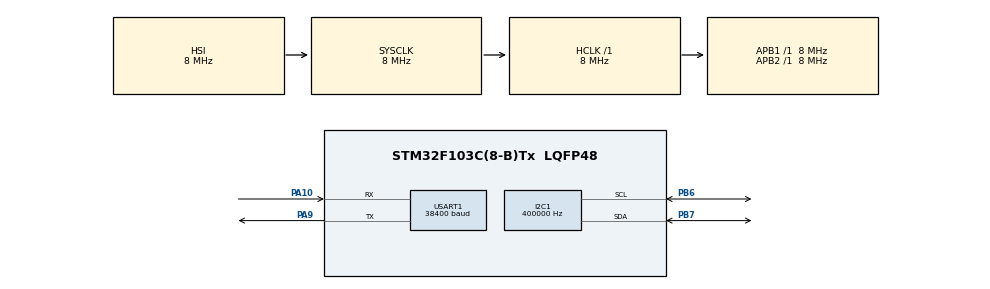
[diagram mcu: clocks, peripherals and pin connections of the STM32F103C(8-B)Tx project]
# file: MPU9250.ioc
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I2C1.ClockSpeed=400000
I2C1.I2C_Mode=I2C_Fast
Mcu.Family=STM32F1
Mcu.Name=STM32F103C(8-B)Tx
Mcu.Package=LQFP48
NVIC.PriorityGroup=NVIC_PRIORITYGROUP_4
PA10.Mode=Asynchronous
PA10.Signal=USART1_RX
PA9.Mode=Asynchronous
PA9.Signal=USART1_TX
PB6.Mode=I2C
PB6.Signal=I2C1_SCL
PB7.Mode=I2C
PB7.Signal=I2C1_SDA
ProjectManager.HeapSize=0x200
ProjectManager.StackSize=0x400
ProjectManager.TargetToolchain=STM32CubeIDE
RCC.AHBFreq_Value=8000000
RCC.APB1Freq_Value=8000000
RCC.APB1TimFreq_Value=8000000
RCC.APB2Freq_Value=8000000
RCC.APB2TimFreq_Value=8000000
RCC.HCLKFreq_Value=8000000
RCC.SYSCLKFreq_VALUE=8000000
RCC.USBFreq_Value=8000000
USART1.BaudRate=38400
USART1.VirtualMode=VM_ASYNC
board=custom

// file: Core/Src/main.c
/* USER CODE BEGIN Header */
/**
  ******************************************************************************
  * @file           : main.c
  * @brief          : Main program body
  ******************************************************************************
  * @attention
  *
  * Copyright (c) 2022 STMicroelectronics.
  * All rights reserved.
  *
  * This software is licensed under terms that can be found in the LICENSE file
  * in the root directory of this software component.
  * If no LICENSE file comes with this software, it is provided AS-IS.
  *
  ******************************************************************************
  */
/* USER CODE END Header */
#include "main.h"
#include "i2c.h"
#include "usart.h"
#include "gpio.h"

/* USER CODE BEGIN Includes */
#include "stdio.h"
/* USER CODE END Includes */

/* USER CODE BEGIN PV */
static MPU6500_t MPU6500;
static AK8963_t Magnetometer;
static uint8_t txbuf[128];
static uint8_t success[] = "successfully initialized ";
static uint8_t fail[] = "failed to initialize ";
uint8_t hold[] = "Please wait for calibration...\r\n";
uint8_t holdf[] = "Calibration complete!\r\n";
/* USER CODE END PV */

void SystemClock_Config(void);
/* USER CODE BEGIN PFP */
void gcvt (float value, int ndigits, char * buf);
/* USER CODE END PFP */

int main(void)
{

  /* MCU Configuration--------------------------------------------------------*/

  /* Reset of all peripherals, Initializes the Flash interface and the Systick. */
  HAL_Init();

  /* Configure the system clock */
  SystemClock_Config();

  /* Initialize all configured peripherals */
  MX_GPIO_Init();
  MX_I2C1_Init();
  MX_USART1_UART_Init();
  /* USER CODE BEGIN 2 */

  for (;;) {
	  if(MPU6500_init(&hi2c1) == 1){
		  HAL_Delay(2000);
		  snprintf(txbuf, sizeof(txbuf),"%s%s",success, "MPU6500\r\n");
		  HAL_UART_Transmit(&huart1,txbuf ,(uint16_t) strlen(txbuf), 10);
		  break;
	  } else {
		  HAL_Delay(2000);
		  snprintf(txbuf, sizeof(txbuf),"%s%s",fail, "MPU6500\r\n");
		  HAL_UART_Transmit(&huart1,txbuf,(uint16_t) strlen(txbuf),10);
		  HAL_Delay(100);
	  }
  }

  for(;;) {
	  uint8_t x = MPU9250_initMagnetometer(&hi2c1, &Magnetometer);
	  if(x == 1){
		  snprintf(txbuf, sizeof(txbuf),"%s%s",success, "Magnetometer\r\n");
		  HAL_UART_Transmit(&huart1,txbuf,(uint16_t)strlen(txbuf),10);
		  break;
	  } else {
		  snprintf(txbuf, sizeof(txbuf),"%s%s",fail, "Magnetometer\r\n");
		  HAL_UART_Transmit(&huart1,txbuf,strlen(txbuf),100);

	  }
  }

  //Calibration
  HAL_UART_Transmit(&huart1,hold,sizeof(hold),10);
  HAL_Delay(100);
  MPU6500_calibrate(&hi2c1, &MPU6500);
  HAL_UART_Transmit(&huart1,holdf,sizeof(holdf),10);

  /* USER CODE END 2 */

  /* Infinite loop */
  /* USER CODE BEGIN WHILE */
  while (1)
  {
	  MPU6500_readAll(&hi2c1, &MPU6500);
	  MPU6500_getValues(&MPU6500);
	  MPU9250_Read_AK8963Data(&hi2c1, &Magnetometer);
	  //test

	  //UART transmission for sensor data
//	  snprintf(txbuf, sizeof(txbuf), "Temp: %.2f\n\r Acc_x:%.2f\t Acc_y:%.2f\t Acc_z:%.2f\n\r Gyro_x:%.2f\t Gyro_y:%.2f\t Gyro_z:%.2f\n\r H_x:%.2f\t H_y:%.2f H_z:%.2f\n\r",
//	  				  MPU6500.Temperature, MPU6500.Ax, MPU6500.Ay, MPU6500.Az, MPU6500.Gx, MPU6500.Gy, MPU6500.Gz,
//	  				  Magnetometer.hx, Magnetometer.hy, Magnetometer.hz);
//	  HAL_UART_Transmit(&huart1, txbuf, strlen(txbuf), 100);
	  MPU9250_transmitUART(&huart1, txbuf, &MPU6500, &Magnetometer);
	  HAL_Delay(1000);
    /* USER CODE END WHILE */

  }
}

void SystemClock_Config(void)
{
  RCC_OscInitTypeDef RCC_OscInitStruct = {0};
  RCC_ClkInitTypeDef RCC_ClkInitStruct = {0};

  /** Initializes the RCC Oscillators according to the specified parameters
  * in the RCC_OscInitTypeDef structure.
  */
  RCC_OscInitStruct.OscillatorType = RCC_OSCILLATORTYPE_HSI;
  RCC_OscInitStruct.HSIState = RCC_HSI_ON;
  RCC_OscInitStruct.HSICalibrationValue = RCC_HSICALIBRATION_DEFAULT;
  RCC_OscInitStruct.PLL.PLLState = RCC_PLL_NONE;
  if (HAL_RCC_OscConfig(&RCC_OscInitStruct) != HAL_OK)
  {
    Error_Handler();
  }

  /** Initializes the CPU, AHB and APB buses clocks
  */
  RCC_ClkInitStruct.ClockType = RCC_CLOCKTYPE_HCLK|RCC_CLOCKTYPE_SYSCLK
                              |RCC_CLOCKTYPE_PCLK1|RCC_CLOCKTYPE_PCLK2;
  RCC_ClkInitStruct.SYSCLKSource = RCC_SYSCLKSOURCE_HSI;
  RCC_ClkInitStruct.AHBCLKDivider = RCC_SYSCLK_DIV1;
  RCC_ClkInitStruct.APB1CLKDivider = RCC_HCLK_DIV1;
  RCC_ClkInitStruct.APB2CLKDivider = RCC_HCLK_DIV1;

  if (HAL_RCC_ClockConfig(&RCC_ClkInitStruct, FLASH_LATENCY_0) != HAL_OK)
  {
    Error_Handler();
  }
}

void Error_Handler(void)
{
  /* USER CODE BEGIN Error_Handler_Debug */
  /* User can add his own implementation to report the HAL error return state */
  __disable_irq();
  while (1)
  {
	  uint8_t falt[] = "system error\r\n";
	  HAL_UART_Transmit(&huart1, falt, sizeof(falt), 1000);
  }
  /* USER CODE END Error_Handler_Debug */
}
